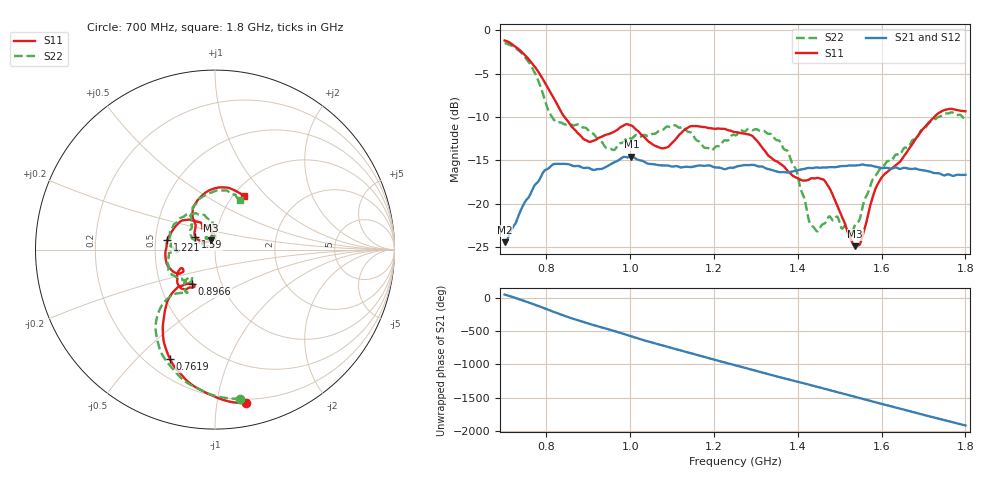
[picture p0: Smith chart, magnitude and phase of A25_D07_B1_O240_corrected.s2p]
! Created with skrf 1.9.0 (http://scikit-rf.org).
# Hz S RI R 50.0
!freq ReS11 ImS11 ReS21 ImS21 ReS12 ImS12 ReS22 ImS22
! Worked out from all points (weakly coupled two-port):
!   1601 points, 700 MHz to 1.8 GHz, reference 50 ohm
!   highest |S21| = -14.57 dB at 1.002 GHz (marker M1); lowest = -24.5 dB at 700.7 MHz (marker M2)
!   lowest |S11| = -24.9 dB at 1.537 GHz (marker M3), VSWR 1.12, Z = 47.3 + j4.84 ohm
!   |S11| at or under -10 dB: 842.8 MHz to 1.726 GHz (882.8 MHz wide, 68.7 % of centre)
!   |S22| runs from -23.8 to -1.5 dB; largest |S21 - S12| = 0.0036
!   S11 on the Smith chart (normalised r, x): 700 MHz: 0.17, -1.21; 761.9 MHz: 0.29, -0.63; 896.6 MHz: 0.72, -0.29; 1.221 GHz: 0.58, +0.07; 1.59 GHz: 0.80, +0.11; 1.8 GHz: 1.12, +0.76
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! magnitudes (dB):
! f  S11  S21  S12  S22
! 700 MHz  -1.2  -24.5  -24.2  -1.5
! 700.7 MHz  -1.2  -24.5  -24.2  -1.5
! 761.9 MHz  -3.6  -18.9  -18.8  -4.0
! 817.6 MHz  -7.8  -15.4  -15.6  -10.3
! 883.6 MHz  -12.3  -15.8  -15.7  -11.2
! 896.6 MHz  -12.7  -15.9  -15.9  -11.4
! 957.1 MHz  -11.8  -15.4  -15.4  -13.8
! 1.002 GHz  -11.0  -14.6  -14.7  -12.5
! 1.067 GHz  -13.5  -15.6  -15.5  -11.7
! 1.144 GHz  -11.1  -15.8  -15.8  -11.8
! 1.221 GHz  -11.4  -16.0  -16.0  -12.9
! 1.25 GHz  -11.8  -15.8  -15.7  -12.1
! 1.357 GHz  -15.4  -16.4  -16.3  -12.8
! 1.395 GHz  -17.0  -16.2  -16.2  -16.0
! 1.434 GHz  -17.1  -15.9  -15.9  -22.6
! 1.471 GHz  -17.9  -15.8  -15.8  -21.7
! 1.537 GHz  -24.9  -15.6  -15.6  -22.4
! 1.551 GHz  -24.3  -15.5  -15.5  -21.2
! 1.59 GHz  -17.8  -15.8  -15.8  -16.4
! 1.617 GHz  -16.2  -15.9  -15.9  -15.1
! 1.733 GHz  -9.7  -16.5  -16.5  -10.1
! 1.8 GHz  -9.4  -16.7  -16.7  -10.2
